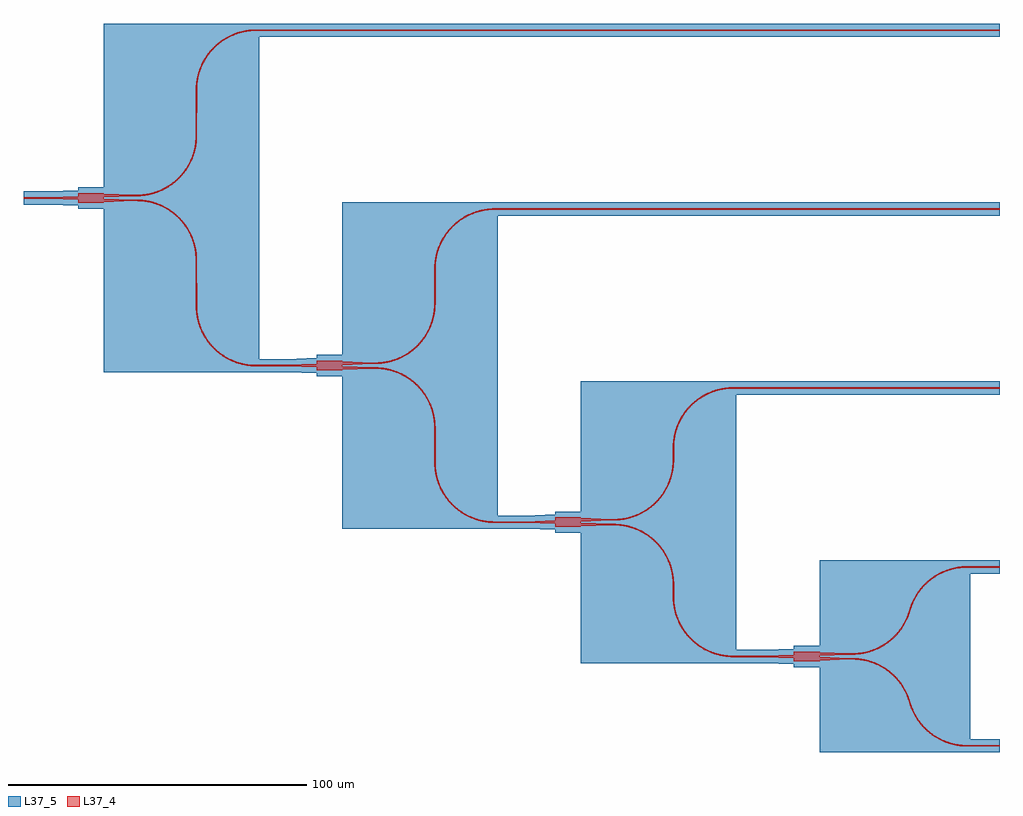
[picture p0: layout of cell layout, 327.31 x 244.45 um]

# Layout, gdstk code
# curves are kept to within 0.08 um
import gdstk
lib = gdstk.Library(unit=1e-6, precision=1e-09)
def R(c, l, rs):  # rectangles x0, y0, x1, y1
    for r in rs: c.add(gdstk.rectangle(r[:2], r[2:], *l))
def P(c, l, *ps):  # polygons
    for p in ps: c.add(gdstk.Polygon(p, *l))
L37_4 = (37, 4)
L37_5 = (37, 5)

wiretaper_1 = lib.new_cell('WireTaper_1')
R(wiretaper_1, L37_4, [(0,-0.225,1,0.225)])
R(wiretaper_1, L37_5, [(0,-2.225,1,2.225)])

wiretaper_2 = lib.new_cell('WireTaper_2')
P(wiretaper_2, L37_4, [(0,-0.225),(0,0.225),(10,0.6),(10,-0.6)])
P(wiretaper_2, L37_5, [(0,-2.225),(0,2.225),(10,2.6),(10,-2.6)])

wiretaper_3 = lib.new_cell('WireTaper_3')
R(wiretaper_3, L37_4, [(0,-1.575,8.64,1.575)])
R(wiretaper_3, L37_5, [(0,-3.575,8.64,3.575)])

wiretaper_4 = lib.new_cell('WireTaper_4')
P(wiretaper_4, L37_4, [(0,-0.6),(0,0.6),(10,0.225),(10,-0.225)])
P(wiretaper_4, L37_5, [(0,-2.6),(0,2.6),(10,2.225),(10,-2.225)])

wiretaper_5 = lib.new_cell('WireTaper_5')
P(wiretaper_5, L37_4, [(0,-0.6),(0,0.6),(10,0.225),(10,-0.225)])
P(wiretaper_5, L37_5, [(0,-2.6),(0,2.6),(10,2.225),(10,-2.225)])

wiretaper_6 = lib.new_cell('WireTaper_6')
R(wiretaper_6, L37_4, [(0,-0.225,1,0.225)])
R(wiretaper_6, L37_5, [(0,-2.225,1,2.225)])

wiretaper_7 = lib.new_cell('WireTaper_7')
R(wiretaper_7, L37_4, [(0,-0.225,1,0.225)])
R(wiretaper_7, L37_5, [(0,-2.225,1,2.225)])

mmi1x2_1 = lib.new_cell('MMI1x2_1')
P(mmi1x2_1, L37_4, [(29.64,0.585),(32.048,0.634),(34.492,0.955),(36.878,1.571),(39.172,2.473),(41.339,3.647),(43.347,5.075),(45.167,6.738),(46.77,8.609),(48.135,10.662),(49.098,12.542),(49.966,14.849),(50.548,17.244),(50.783,18.989),(50.861,20.396),(50.913,36.31),(50.993,38.031),(51.222,39.737),(51.692,41.749),(52.243,43.38),(53.087,45.265),(53.758,46.469),(54.51,47.623),(55.341,48.722),(56.247,49.76),(57.222,50.732),(58.263,51.635),(59.364,52.462),(60.521,53.211),(62.659,54.322),(63.937,54.837),(65.247,55.262),(66.584,55.595),(68.282,55.878),(69.999,56.013),(71.688,56.025),(71.688,56.475),(69.279,56.426),(66.836,56.105),(64.449,55.489),(62.156,54.587),(59.989,53.413),(57.98,51.985),(56.161,50.322),(54.557,48.451),(53.193,46.398),(52.088,44.195),(51.26,41.874),(50.779,39.816),(50.579,38.422),(50.467,36.664),(50.415,20.75),(50.335,19.029),(50.105,17.323),(49.635,15.311),(48.958,13.36),(48.081,11.489),(47.389,10.298),(46.617,9.157),(45.081,7.3),(44.105,6.328),(43.064,5.425),(41.963,4.598),(40.807,3.849),(38.668,2.738),(37.391,2.223),(36.08,1.798),(34.744,1.465),(33.045,1.182),(31.329,1.047),(29.64,1.035)],
  [(29.64,-1.035),(31.329,-1.047),(32.703,-1.143),(34.067,-1.334),(35.415,-1.62),(36.739,-1.999),(38.034,-2.469),(39.293,-3.029),(40.51,-3.674),(41.679,-4.403),(42.795,-5.211),(43.851,-6.095),(44.843,-7.051),(45.767,-8.073),(46.617,-9.157),(47.389,-10.298),(48.081,-11.489),(48.958,-13.36),(49.635,-15.311),(50.105,-17.323),(50.335,-19.029),(50.415,-20.75),(50.467,-36.664),(50.579,-38.422),(50.779,-39.816),(51.26,-41.874),(52.088,-44.195),(53.193,-46.398),(54.557,-48.451),(56.161,-50.322),(57.98,-51.985),(59.989,-53.413),(62.156,-54.587),(64.449,-55.489),(66.836,-56.105),(69.279,-56.426),(71.688,-56.475),(71.688,-56.025),(69.999,-56.013),(68.282,-55.878),(66.584,-55.595),(65.247,-55.262),(63.937,-54.837),(62.659,-54.322),(60.521,-53.211),(59.364,-52.462),(58.263,-51.635),(57.222,-50.732),(56.247,-49.76),(55.341,-48.722),(54.51,-47.623),(53.758,-46.469),(53.087,-45.265),(52.243,-43.38),(51.692,-41.749),(51.222,-39.737),(50.993,-38.031),(50.913,-36.31),(50.861,-20.396),(50.783,-18.989),(50.548,-17.244),(49.966,-14.849),(49.098,-12.542),(48.135,-10.662),(46.77,-8.609),(45.167,-6.738),(44.152,-5.761),(43.071,-4.856),(41.038,-3.463),(38.851,-2.327),(37.544,-1.8),(36.204,-1.365),(34.837,-1.025),(33.449,-0.781),(31.696,-0.613),(29.64,-0.585)])
R(mmi1x2_1, L37_5, [(19.64,-58.475,71.688,58.475)])
P(mmi1x2_1, L37_5, [(29.64,-1.415),(32.573,-1.331),(35.252,-0.931),(37.862,-0.209),(40.365,0.826),(43.047,2.37),(45.198,4.016),(47.132,5.912),(48.822,8.028),(50.056,9.995),(51.227,12.437),(51.989,14.63),(52.582,17.273),(52.86,20.355),(52.96,37.542),(53.452,40.595),(54.466,43.516),(55.632,45.699),(57.292,47.934),(59.281,49.882),(61.549,51.496),(64.041,52.736),(66.396,53.499),(68.833,53.928),(71.688,54.025),(71.688,58.475),(68.754,58.391),(66.076,57.991),(63.465,57.269),(60.962,56.234),(58.281,54.69),(56.13,53.044),(54.195,51.148),(52.506,49.032),(51.086,46.725),(50.1,44.623),(49.339,42.43),(48.746,39.787),(48.467,36.705),(48.368,19.518),(47.876,16.465),(46.862,13.544),(45.528,11.1),(43.83,8.895),(41.808,6.981),(39.779,5.564),(37.286,4.324),(34.932,3.561),(32.494,3.132),(29.64,3.035)],
  [(29.64,-3.035),(32.494,-3.132),(34.932,-3.561),(37.286,-4.324),(39.512,-5.407),(41.808,-6.981),(43.62,-8.667),(45.181,-10.587),(46.599,-12.983),(47.714,-15.867),(48.079,-17.371),(48.343,-19.21),(48.467,-36.705),(48.811,-40.169),(49.339,-42.43),(50.249,-44.981),(51.463,-47.402),(52.962,-49.657),(54.724,-51.714),(56.724,-53.541),(58.931,-55.111),(61.312,-56.401),(63.833,-57.392),(66.455,-58.068),(68.754,-58.391),(71.688,-58.475),(71.688,-54.025),(68.833,-53.928),(66.396,-53.499),(64.041,-52.736),(61.549,-51.496),(59.281,-49.882),(57.292,-47.934),(55.632,-45.699),(54.466,-43.516),(53.452,-40.595),(52.96,-37.542),(52.86,-20.355),(52.582,-17.273),(51.989,-14.63),(51.078,-12.079),(49.865,-9.658),(48.366,-7.403),(47.132,-5.912),(45.774,-4.533),(44.3,-3.279),(42.724,-2.157),(41.055,-1.176),(39.308,-0.345),(37.495,0.332),(35.63,0.848),(32.573,1.331),(29.64,1.415)])
mmi1x2_1.add(gdstk.Reference(wiretaper_1, (0,0)))
mmi1x2_1.add(gdstk.Reference(wiretaper_2, (1,0)))
mmi1x2_1.add(gdstk.Reference(wiretaper_3, (11,0)))
mmi1x2_1.add(gdstk.Reference(wiretaper_4, (19.64,0.81)))
mmi1x2_1.add(gdstk.Reference(wiretaper_5, (19.64,-0.81)))
mmi1x2_1.add(gdstk.Reference(wiretaper_6, (71.688,56.25)))
mmi1x2_1.add(gdstk.Reference(wiretaper_7, (71.688,-56.25)))

wiretaper_8 = lib.new_cell('WireTaper_8')
R(wiretaper_8, L37_4, [(0,-0.225,7.312,0.225)])
R(wiretaper_8, L37_5, [(0,-2.225,7.312,2.225)])

wiretaper_9 = lib.new_cell('WireTaper_9')
R(wiretaper_9, L37_4, [(0,-0.225,247.312,0.225)])
R(wiretaper_9, L37_5, [(0,-2.225,247.312,2.225)])

wiretaper_10 = lib.new_cell('WireTaper_10')
R(wiretaper_10, L37_4, [(0,-0.225,1,0.225)])
R(wiretaper_10, L37_5, [(0,-2.225,1,2.225)])

wiretaper_11 = lib.new_cell('WireTaper_11')
P(wiretaper_11, L37_4, [(0,-0.225),(0,0.225),(10,0.6),(10,-0.6)])
P(wiretaper_11, L37_5, [(0,-2.225),(0,2.225),(10,2.6),(10,-2.6)])

wiretaper_12 = lib.new_cell('WireTaper_12')
R(wiretaper_12, L37_4, [(0,-1.575,8.64,1.575)])
R(wiretaper_12, L37_5, [(0,-3.575,8.64,3.575)])

wiretaper_13 = lib.new_cell('WireTaper_13')
P(wiretaper_13, L37_4, [(0,-0.6),(0,0.6),(10,0.225),(10,-0.225)])
P(wiretaper_13, L37_5, [(0,-2.6),(0,2.6),(10,2.225),(10,-2.225)])

wiretaper_14 = lib.new_cell('WireTaper_14')
P(wiretaper_14, L37_4, [(0,-0.6),(0,0.6),(10,0.225),(10,-0.225)])
P(wiretaper_14, L37_5, [(0,-2.6),(0,2.6),(10,2.225),(10,-2.225)])

wiretaper_15 = lib.new_cell('WireTaper_15')
R(wiretaper_15, L37_4, [(0,-0.225,1,0.225)])
R(wiretaper_15, L37_5, [(0,-2.225,1,2.225)])

wiretaper_16 = lib.new_cell('WireTaper_16')
R(wiretaper_16, L37_4, [(0,-0.225,1,0.225)])
R(wiretaper_16, L37_5, [(0,-2.225,1,2.225)])

mmi1x2_2 = lib.new_cell('MMI1x2_2')
P(mmi1x2_2, L37_4, [(29.64,0.585),(32.048,0.634),(34.492,0.955),(36.542,1.465),(38.851,2.327),(41.038,3.463),(43.071,4.856),(44.668,6.24),(46.336,8.055),(47.771,10.058),(48.799,11.904),(49.747,14.179),(50.412,16.552),(50.707,18.288),(50.85,20.044),(50.901,32.56),(51.015,34.623),(51.344,36.663),(51.884,38.657),(52.629,40.584),(53.4,42.123),(54.112,43.302),(54.905,44.429),(55.773,45.498),(56.714,46.504),(57.723,47.442),(58.795,48.308),(60.806,49.636),(62.964,50.709),(65.236,51.512),(66.573,51.845),(68.271,52.128),(69.987,52.263),(71.676,52.275),(71.676,52.725),(69.268,52.676),(66.824,52.355),(64.774,51.845),(62.465,50.983),(60.278,49.847),(58.245,48.454),(56.648,47.07),(54.98,45.255),(53.545,43.252),(52.517,41.406),(51.569,39.131),(50.904,36.758),(50.609,35.022),(50.466,33.266),(50.415,20.75),(50.301,18.687),(49.972,16.647),(49.432,14.653),(48.687,12.726),(47.916,11.187),(47.204,10.008),(46.411,8.881),(45.543,7.812),(44.602,6.806),(42.795,5.211),(41.679,4.403),(40.51,3.674),(38.352,2.601),(36.08,1.798),(34.744,1.465),(33.045,1.182),(31.329,1.047),(29.64,1.035)],
  [(29.64,-1.035),(32.36,-1.11),(33.727,-1.278),(35.08,-1.54),(36.411,-1.896),(37.714,-2.343),(38.982,-2.881),(40.21,-3.505),(42.244,-4.797),(43.33,-5.644),(44.356,-6.564),(45.314,-7.554),(46.201,-8.608),(47.013,-9.721),(47.745,-10.887),(48.687,-12.726),(49.432,-14.653),(49.972,-16.647),(50.261,-18.345),(50.411,-20.405),(50.466,-33.266),(50.609,-35.022),(50.904,-36.758),(51.569,-39.131),(52.517,-41.406),(53.545,-43.252),(54.98,-45.255),(56.648,-47.07),(58.245,-48.454),(60.278,-49.847),(62.465,-50.983),(64.774,-51.845),(66.824,-52.355),(69.268,-52.676),(71.676,-52.725),(71.676,-52.275),(69.987,-52.263),(68.271,-52.128),(66.573,-51.845),(65.236,-51.512),(62.964,-50.709),(60.806,-49.636),(58.795,-48.308),(57.723,-47.442),(56.714,-46.504),(55.773,-45.498),(54.905,-44.429),(54.112,-43.302),(53.4,-42.123),(52.629,-40.584),(51.884,-38.657),(51.344,-36.663),(51.015,-34.623),(50.901,-32.56),(50.85,-20.044),(50.707,-18.288),(50.412,-16.552),(49.747,-14.179),(48.799,-11.904),(47.771,-10.058),(46.336,-8.055),(44.668,-6.24),(42.791,-4.642),(40.735,-3.284),(38.528,-2.187),(37.212,-1.683),(35.865,-1.271),(34.492,-0.955),(33.1,-0.735),(31.344,-0.597),(29.64,-0.585)])
R(mmi1x2_2, L37_5, [(19.64,-54.725,71.676,54.725)])
P(mmi1x2_2, L37_5, [(29.64,-1.415),(32.573,-1.331),(34.873,-1.008),(37.495,-0.332),(40.016,0.659),(42.397,1.949),(44.604,3.519),(46.603,5.346),(48.366,7.403),(49.668,9.325),(50.923,11.725),(51.878,14.259),(52.445,16.511),(52.849,19.968),(52.973,34.1),(53.237,35.939),(53.602,37.443),(54.717,40.327),(56.135,42.723),(57.696,44.643),(59.508,46.329),(61.804,47.903),(64.03,48.986),(66.384,49.749),(68.822,50.178),(71.676,50.275),(71.676,54.725),(68.743,54.641),(66.443,54.318),(63.821,53.642),(61.3,52.651),(58.919,51.361),(56.712,49.791),(54.713,47.964),(52.951,45.907),(51.648,43.985),(50.393,41.585),(49.438,39.051),(48.871,36.799),(48.467,33.342),(48.343,19.21),(48.079,17.371),(47.714,15.867),(46.599,12.983),(45.181,10.587),(43.62,8.667),(41.808,6.981),(39.512,5.407),(37.286,4.324),(34.932,3.561),(32.494,3.132),(29.64,3.035)],
  [(29.64,-3.035),(32.494,-3.132),(34.932,-3.561),(37.286,-4.324),(39.512,-5.407),(41.565,-6.789),(43.407,-8.442),(45.001,-10.336),(46.317,-12.432),(46.986,-13.827),(47.625,-15.571),(48.017,-17.068),(48.312,-18.901),(48.415,-20.765),(48.467,-33.342),(48.624,-35.271),(48.949,-37.179),(49.679,-39.787),(50.554,-41.937),(51.851,-44.315),(53.428,-46.517),(55.261,-48.511),(57.323,-50.267),(59.249,-51.563),(61.653,-52.811),(63.821,-53.642),(66.443,-54.318),(68.743,-54.641),(71.676,-54.725),(71.676,-50.275),(68.822,-50.178),(66.384,-49.749),(64.03,-48.986),(61.804,-47.903),(59.508,-46.329),(57.696,-44.643),(56.135,-42.723),(54.717,-40.327),(53.602,-37.443),(53.237,-35.939),(52.973,-34.1),(52.849,-19.968),(52.445,-16.511),(51.76,-13.89),(50.762,-11.373),(49.465,-8.995),(47.888,-6.793),(46.603,-5.346),(45.198,-4.016),(43.682,-2.814),(42.067,-1.747),(40.365,-0.826),(38.59,-0.055),(35.252,0.931),(32.573,1.331),(29.64,1.415)])
mmi1x2_2.add(gdstk.Reference(wiretaper_10, (0,0)))
mmi1x2_2.add(gdstk.Reference(wiretaper_11, (1,0)))
mmi1x2_2.add(gdstk.Reference(wiretaper_12, (11,0)))
mmi1x2_2.add(gdstk.Reference(wiretaper_13, (19.64,0.81)))
mmi1x2_2.add(gdstk.Reference(wiretaper_14, (19.64,-0.81)))
mmi1x2_2.add(gdstk.Reference(wiretaper_15, (71.676,52.5)))
mmi1x2_2.add(gdstk.Reference(wiretaper_16, (71.676,-52.5)))

wiretaper_17 = lib.new_cell('WireTaper_17')
R(wiretaper_17, L37_4, [(0,-0.225,7.324,0.225)])
R(wiretaper_17, L37_5, [(0,-2.225,7.324,2.225)])

wiretaper_18 = lib.new_cell('WireTaper_18')
R(wiretaper_18, L37_4, [(0,-0.225,167.324,0.225)])
R(wiretaper_18, L37_5, [(0,-2.225,167.324,2.225)])

wiretaper_19 = lib.new_cell('WireTaper_19')
R(wiretaper_19, L37_4, [(0,-0.225,1,0.225)])
R(wiretaper_19, L37_5, [(0,-2.225,1,2.225)])

wiretaper_20 = lib.new_cell('WireTaper_20')
P(wiretaper_20, L37_4, [(0,-0.225),(0,0.225),(10,0.6),(10,-0.6)])
P(wiretaper_20, L37_5, [(0,-2.225),(0,2.225),(10,2.6),(10,-2.6)])

wiretaper_21 = lib.new_cell('WireTaper_21')
R(wiretaper_21, L37_4, [(0,-1.575,8.64,1.575)])
R(wiretaper_21, L37_5, [(0,-3.575,8.64,3.575)])

wiretaper_22 = lib.new_cell('WireTaper_22')
P(wiretaper_22, L37_4, [(0,-0.6),(0,0.6),(10,0.225),(10,-0.225)])
P(wiretaper_22, L37_5, [(0,-2.6),(0,2.6),(10,2.225),(10,-2.225)])

wiretaper_23 = lib.new_cell('WireTaper_23')
P(wiretaper_23, L37_4, [(0,-0.6),(0,0.6),(10,0.225),(10,-0.225)])
P(wiretaper_23, L37_5, [(0,-2.6),(0,2.6),(10,2.225),(10,-2.225)])

wiretaper_24 = lib.new_cell('WireTaper_24')
R(wiretaper_24, L37_4, [(0,-0.225,1,0.225)])
R(wiretaper_24, L37_5, [(0,-2.225,1,2.225)])

wiretaper_25 = lib.new_cell('WireTaper_25')
R(wiretaper_25, L37_4, [(0,-0.225,1,0.225)])
R(wiretaper_25, L37_5, [(0,-2.225,1,2.225)])

mmi1x2_3 = lib.new_cell('MMI1x2_3')
P(mmi1x2_3, L37_4, [(29.64,0.585),(32.048,0.634),(34.145,0.891),(36.204,1.365),(38.202,2.052),(40.118,2.943),(42.221,4.229),(43.887,5.527),(45.41,6.993),(46.77,8.609),(48.135,10.662),(49.098,12.542),(49.966,14.849),(50.483,16.897),(50.783,18.989),(50.861,20.396),(50.908,26.094),(51.032,27.465),(51.252,28.826),(51.658,30.499),(52.335,32.45),(53.212,34.321),(54.28,36.089),(55.75,37.998),(57.442,39.715),(59.33,41.212),(61.386,42.469),(63.259,43.341),(65.545,44.104),(67.226,44.476),(68.59,44.667),(69.964,44.763),(71.653,44.775),(71.653,45.225),(69.245,45.176),(67.148,44.919),(65.089,44.445),(63.091,43.758),(61.175,42.867),(59.072,41.581),(57.406,40.283),(55.884,38.817),(54.523,37.201),(53.158,35.148),(52.195,33.268),(51.327,30.961),(50.81,28.913),(50.51,26.821),(50.432,25.414),(50.385,19.716),(50.261,18.345),(50.041,16.984),(49.635,15.311),(48.958,13.36),(48.081,11.489),(47.013,9.721),(45.543,7.812),(43.851,6.095),(41.963,4.598),(39.907,3.341),(37.714,2.343),(35.748,1.706),(34.067,1.334),(32.703,1.143),(31.329,1.047),(29.64,1.035)],
  [(29.64,-1.035),(32.36,-1.11),(34.744,-1.465),(37.066,-2.108),(39.293,-3.029),(41.392,-4.213),(43.33,-5.644),(45.081,-7.3),(45.986,-8.338),(46.817,-9.437),(47.916,-11.187),(48.687,-12.726),(49.432,-14.653),(49.972,-16.647),(50.215,-18.003),(50.385,-19.716),(50.432,-25.414),(50.51,-26.821),(50.81,-28.913),(51.327,-30.961),(52.195,-33.268),(53.158,-35.148),(54.523,-37.201),(56.126,-39.072),(57.674,-40.511),(59.363,-41.78),(61.175,-42.867),(63.091,-43.758),(65.089,-44.445),(67.148,-44.919),(69.245,-45.176),(71.653,-45.225),(71.653,-44.775),(69.964,-44.763),(68.59,-44.667),(67.226,-44.476),(65.545,-44.104),(63.259,-43.341),(61.386,-42.469),(59.33,-41.212),(57.442,-39.715),(55.75,-37.998),(54.28,-36.089),(53.212,-34.321),(52.335,-32.45),(51.658,-30.499),(51.252,-28.826),(51.032,-27.465),(50.908,-26.094),(50.861,-20.396),(50.783,-18.989),(50.483,-16.897),(49.966,-14.849),(49.098,-12.542),(48.135,-10.662),(46.77,-8.609),(45.41,-6.993),(43.887,-5.527),(41.93,-4.03),(40.118,-2.943),(37.874,-1.923),(35.524,-1.183),(34.145,-0.891),(32.75,-0.695),(31.344,-0.597),(29.64,-0.585)])
R(mmi1x2_3, L37_5, [(19.64,-47.225,71.653,47.225)])
P(mmi1x2_3, L37_5, [(29.64,-1.415),(32.187,-1.361),(34.492,-1.079),(37.126,-0.448),(39.308,0.345),(41.733,1.551),(43.682,2.814),(45.774,4.533),(47.389,6.201),(48.822,8.028),(50.056,9.995),(51.078,12.079),(51.989,14.63),(52.517,16.891),(52.775,18.809),(52.891,25.674),(53.157,28.134),(53.579,29.943),(54.074,31.409),(55.435,34.185),(56.859,36.21),(58.55,38.018),(60.475,39.573),(62.323,40.702),(64.295,41.599),(66.662,42.321),(69.107,42.708),(71.653,42.775),(71.653,47.225),(69.106,47.171),(66.801,46.889),(64.167,46.258),(61.985,45.465),(59.56,44.259),(57.612,42.996),(55.519,41.277),(53.904,39.609),(52.471,37.782),(51.237,35.815),(50.215,33.731),(49.304,31.18),(48.776,28.919),(48.518,27.001),(48.402,20.136),(48.136,17.676),(47.714,15.867),(47.219,14.401),(45.858,11.625),(44.434,9.6),(42.743,7.792),(40.818,6.237),(38.97,5.108),(36.998,4.211),(34.631,3.489),(32.186,3.102),(29.64,3.035)],
  [(29.64,-3.035),(32.186,-3.102),(34.329,-3.422),(36.416,-4),(38.418,-4.827),(40.563,-6.062),(42.283,-7.379),(43.83,-8.895),(45.357,-10.842),(46.317,-12.432),(46.986,-13.827),(47.625,-15.571),(48.079,-17.371),(48.388,-19.827),(48.518,-27.001),(48.848,-29.299),(49.415,-31.551),(50.37,-34.085),(51.625,-36.485),(52.927,-38.407),(54.69,-40.464),(56.39,-42.045),(58.246,-43.44),(60.238,-44.634),(62.343,-45.613),(64.539,-46.367),(66.801,-46.889),(69.106,-47.171),(71.653,-47.225),(71.653,-42.775),(69.107,-42.708),(66.662,-42.321),(64.295,-41.599),(62.323,-40.702),(60.475,-39.573),(58.55,-38.018),(56.859,-36.21),(55.435,-34.185),(54.074,-31.409),(53.579,-29.943),(53.157,-28.134),(52.891,-25.674),(52.775,-18.809),(52.445,-16.511),(51.878,-14.259),(50.923,-11.725),(49.668,-9.325),(48.366,-7.403),(46.603,-5.346),(43.993,-3.043),(42.397,-1.949),(40.712,-0.998),(37.495,0.332),(35.63,0.848),(33.727,1.2),(31.801,1.385),(29.64,1.415)])
mmi1x2_3.add(gdstk.Reference(wiretaper_19, (0,0)))
mmi1x2_3.add(gdstk.Reference(wiretaper_20, (1,0)))
mmi1x2_3.add(gdstk.Reference(wiretaper_21, (11,0)))
mmi1x2_3.add(gdstk.Reference(wiretaper_22, (19.64,0.81)))
mmi1x2_3.add(gdstk.Reference(wiretaper_23, (19.64,-0.81)))
mmi1x2_3.add(gdstk.Reference(wiretaper_24, (71.653,45)))
mmi1x2_3.add(gdstk.Reference(wiretaper_25, (71.653,-45)))

wiretaper_26 = lib.new_cell('WireTaper_26')
R(wiretaper_26, L37_4, [(0,-0.225,7.347,0.225)])
R(wiretaper_26, L37_5, [(0,-2.225,7.347,2.225)])

wiretaper_27 = lib.new_cell('WireTaper_27')
R(wiretaper_27, L37_4, [(0,-0.225,87.347,0.225)])
R(wiretaper_27, L37_5, [(0,-2.225,87.347,2.225)])

wiretaper_28 = lib.new_cell('WireTaper_28')
R(wiretaper_28, L37_4, [(0,-0.225,1,0.225)])
R(wiretaper_28, L37_5, [(0,-2.225,1,2.225)])

wiretaper_29 = lib.new_cell('WireTaper_29')
P(wiretaper_29, L37_4, [(0,-0.225),(0,0.225),(10,0.6),(10,-0.6)])
P(wiretaper_29, L37_5, [(0,-2.225),(0,2.225),(10,2.6),(10,-2.6)])

wiretaper_30 = lib.new_cell('WireTaper_30')
R(wiretaper_30, L37_4, [(0,-1.575,8.64,1.575)])
R(wiretaper_30, L37_5, [(0,-3.575,8.64,3.575)])

wiretaper_31 = lib.new_cell('WireTaper_31')
P(wiretaper_31, L37_4, [(0,-0.6),(0,0.6),(10,0.225),(10,-0.225)])
P(wiretaper_31, L37_5, [(0,-2.6),(0,2.6),(10,2.225),(10,-2.225)])

wiretaper_32 = lib.new_cell('WireTaper_32')
P(wiretaper_32, L37_4, [(0,-0.6),(0,0.6),(10,0.225),(10,-0.225)])
P(wiretaper_32, L37_5, [(0,-2.6),(0,2.6),(10,2.225),(10,-2.225)])

wiretaper_33 = lib.new_cell('WireTaper_33')
R(wiretaper_33, L37_4, [(0,-0.225,1,0.225)])
R(wiretaper_33, L37_5, [(0,-2.225,1,2.225)])

wiretaper_34 = lib.new_cell('WireTaper_34')
R(wiretaper_34, L37_4, [(0,-0.225,1,0.225)])
R(wiretaper_34, L37_5, [(0,-2.225,1,2.225)])

mmi1x2_4 = lib.new_cell('MMI1x2_4')
P(mmi1x2_4, L37_4, [(29.64,0.585),(31.344,0.597),(33.097,0.735),(34.832,1.024),(36.535,1.463),(37.867,1.92),(39.48,2.619),(41.028,3.456),(42.496,4.424),(43.875,5.517),(45.154,6.724),(46.323,8.039),(47.568,9.742),(48.466,11.255),(49.228,12.84),(49.738,14.152),(50.732,17.156),(51.274,18.42),(51.903,19.644),(52.806,21.108),(53.618,22.219),(54.739,23.523),(55.714,24.494),(57.024,25.608),(58.426,26.604),(60.215,27.633),(61.781,28.344),(63.733,29.014),(65.744,29.476),(67.792,29.727),(70.167,29.775),(70.167,30.225),(68.463,30.213),(66.71,30.075),(64.975,29.786),(63.271,29.347),(61.94,28.89),(60.326,28.191),(58.779,27.354),(57.311,26.386),(55.932,25.293),(54.653,24.086),(53.264,22.497),(52.239,21.068),(51.341,19.555),(50.578,17.97),(50.069,16.658),(49.075,13.654),(48.533,12.39),(47.904,11.166),(47.001,9.702),(46.189,8.591),(45.068,7.287),(44.093,6.316),(42.783,5.202),(41.381,4.206),(39.592,3.177),(38.026,2.466),(36.074,1.796),(34.063,1.334),(32.015,1.083),(29.64,1.035)],
  [(29.64,-1.035),(31.672,-1.062),(33.724,-1.277),(35.743,-1.705),(37.383,-2.22),(38.973,-2.876),(40.796,-3.842),(42.509,-4.993),(44.093,-6.316),(45.068,-7.287),(46.189,-8.591),(47.001,-9.702),(47.904,-11.166),(48.533,-12.39),(49.075,-13.654),(50.069,-16.658),(50.578,-17.97),(51.341,-19.555),(52.239,-21.068),(53.264,-22.497),(54.653,-24.086),(55.932,-25.293),(57.311,-26.386),(58.779,-27.354),(60.326,-28.191),(61.94,-28.89),(63.271,-29.347),(64.975,-29.786),(66.71,-30.075),(68.463,-30.213),(70.167,-30.225),(70.167,-29.775),(67.792,-29.727),(65.744,-29.476),(63.733,-29.014),(61.781,-28.344),(60.215,-27.633),(58.426,-26.604),(57.024,-25.608),(55.714,-24.494),(54.739,-23.523),(53.618,-22.219),(52.806,-21.108),(51.903,-19.644),(51.274,-18.42),(50.732,-17.156),(49.738,-14.152),(49.228,-12.84),(48.466,-11.255),(47.568,-9.742),(46.323,-8.039),(45.154,-6.724),(43.875,-5.517),(42.496,-4.424),(41.028,-3.456),(39.163,-2.468),(37.537,-1.797),(35.859,-1.27),(33.794,-0.832),(31.344,-0.597),(29.64,-0.585)])
R(mmi1x2_4, L37_5, [(19.64,-32.225,70.167,32.225)])
P(mmi1x2_4, L37_5, [(29.64,-1.415),(31.8,-1.385),(33.724,-1.2),(35.624,-0.849),(37.854,-0.212),(39.653,0.495),(41.721,1.544),(43.353,2.58),(44.889,3.754),(46.317,5.056),(47.627,6.478),(49.654,9.302),(51.216,12.408),(52.487,16.143),(53.218,17.847),(54.461,19.984),(55.783,21.697),(57.075,23.028),(58.747,24.401),(60.304,25.408),(62.242,26.371),(64.282,27.091),(66.09,27.507),(67.931,27.732),(70.167,27.775),(70.167,32.225),(68.007,32.195),(66.083,32.01),(64.183,31.659),(61.953,31.022),(59.801,30.155),(58.086,29.266),(56.454,28.23),(54.918,27.056),(53.49,25.754),(52.18,24.332),(50.153,21.508),(48.591,18.402),(47.32,14.667),(46.589,12.963),(45.346,10.826),(44.024,9.113),(42.732,7.782),(41.06,6.409),(39.233,5.25),(37.565,4.439),(35.525,3.719),(33.717,3.303),(31.876,3.078),(29.64,3.035)],
  [(29.64,-3.035),(31.567,-3.059),(33.412,-3.253),(35.227,-3.637),(36.701,-4.1),(38.41,-4.823),(40.033,-5.72),(41.554,-6.781),(42.957,-7.994),(44.805,-10.072),(46.306,-12.413),(47.21,-14.378),(48.74,-18.758),(49.578,-20.5),(50.565,-22.162),(51.933,-24.034),(53.218,-25.479),(54.623,-26.806),(56.138,-28.006),(57.752,-29.07),(59.452,-29.989),(62.688,-31.26),(64.56,-31.742),(66.467,-32.06),(70.167,-32.225),(70.167,-27.775),(67.931,-27.732),(66.09,-27.507),(64.282,-27.091),(62.528,-26.489),(60.574,-25.56),(58.999,-24.58),(57.535,-23.441),(55.989,-21.928),(54.637,-20.239),(53.357,-18.124),(52.487,-16.143),(51.067,-12.052),(50.228,-10.31),(49.242,-8.648),(48.115,-7.078),(46.589,-5.331),(45.184,-4.004),(43.668,-2.804),(42.055,-1.74),(40.355,-0.821),(37.118,0.45),(35.247,0.932),(33.34,1.25),(29.64,1.415)])
mmi1x2_4.add(gdstk.Reference(wiretaper_28, (0,0)))
mmi1x2_4.add(gdstk.Reference(wiretaper_29, (1,0)))
mmi1x2_4.add(gdstk.Reference(wiretaper_30, (11,0)))
mmi1x2_4.add(gdstk.Reference(wiretaper_31, (19.64,0.81)))
mmi1x2_4.add(gdstk.Reference(wiretaper_32, (19.64,-0.81)))
mmi1x2_4.add(gdstk.Reference(wiretaper_33, (70.167,30)))
mmi1x2_4.add(gdstk.Reference(wiretaper_34, (70.167,-30)))

wiretaper_35 = lib.new_cell('WireTaper_35')
R(wiretaper_35, L37_4, [(0,-0.225,8.833,0.225)])
R(wiretaper_35, L37_5, [(0,-2.225,8.833,2.225)])

wiretaper_36 = lib.new_cell('WireTaper_36')
R(wiretaper_36, L37_4, [(0,-0.225,8.833,0.225)])
R(wiretaper_36, L37_5, [(0,-2.225,8.833,2.225)])

wiretaper_37 = lib.new_cell('WireTaper_37')
R(wiretaper_37, L37_4, [(0,-0.225,8.833,0.225)])
R(wiretaper_37, L37_5, [(0,-2.225,8.833,2.225)])

layout = lib.new_cell('layout')
layout.add(gdstk.Reference(mmi1x2_1, (0,153.75)))
layout.add(gdstk.Reference(wiretaper_8, (-7.312,153.75)))
layout.add(gdstk.Reference(wiretaper_9, (72.688,210)))
layout.add(gdstk.Reference(mmi1x2_2, (80,97.5)))
layout.add(gdstk.Reference(wiretaper_17, (72.676,97.5)))
layout.add(gdstk.Reference(wiretaper_18, (152.676,150)))
layout.add(gdstk.Reference(mmi1x2_3, (160,45)))
layout.add(gdstk.Reference(wiretaper_26, (152.653,45)))
layout.add(gdstk.Reference(wiretaper_27, (232.653,90)))
layout.add(gdstk.Reference(mmi1x2_4, (240,0)))
layout.add(gdstk.Reference(wiretaper_35, (231.167,0)))
layout.add(gdstk.Reference(wiretaper_36, (311.167,30)))
layout.add(gdstk.Reference(wiretaper_37, (311.167,-30)))

lib.write_gds('layout.gds')
